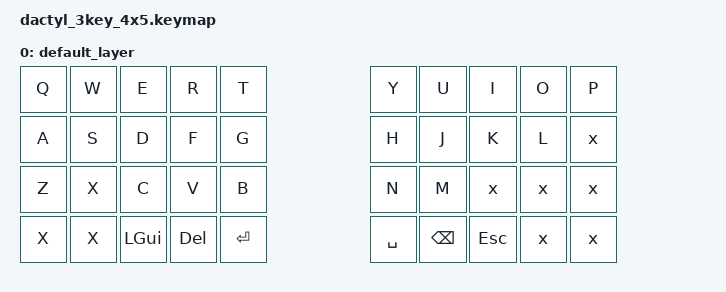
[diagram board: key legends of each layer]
#include <behaviors.dtsi>
#include <dt-bindings/zmk/keys.h>

/ {
		keymap {
			compatible = "zmk,keymap";

			default_layer {
				bindings = <
					&kp Q			&kp W			&kp E			&kp R			&kp T														&kp Y			&kp U			&kp I			&kp O			&kp P
					&kp A			&kp S			&kp D			&kp F			&kp G														&kp H			&kp J			&kp K			&kp L			&kp x
					&kp Z			&kp X			&kp C			&kp V			&kp B														&kp	N			&kp M			&kp x			&kp x			&kp x
										&kp X			&kp X			&kp LGUI	&kp DEL		&kp RET			&kp SPACE	&kp BSPC	&kp ESC		&kp x			&kp x
				>;
			};
		};
	};
